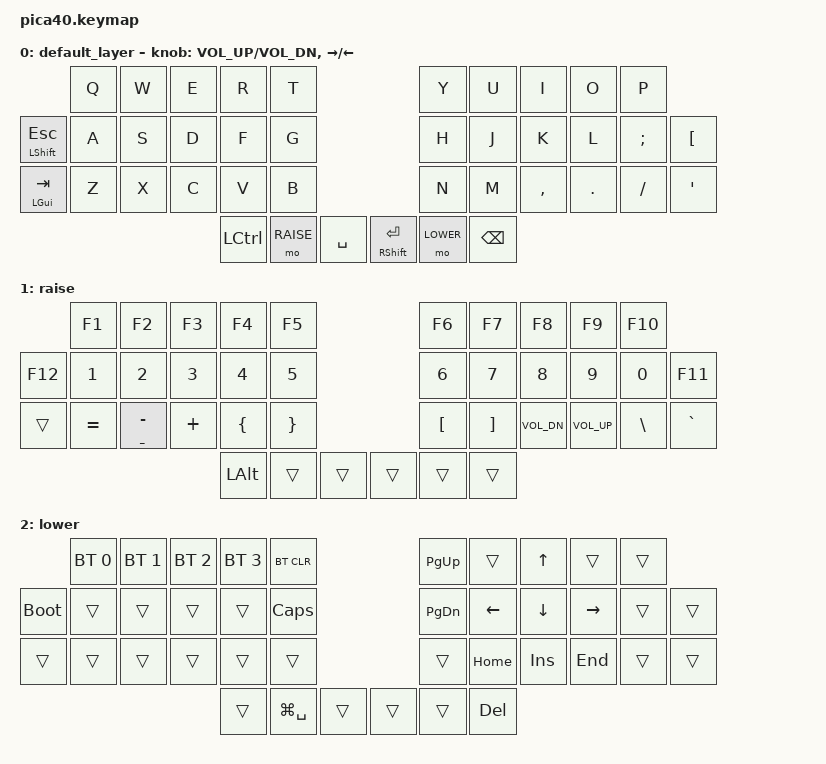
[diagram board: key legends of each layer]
#include <behaviors.dtsi>
#include <dt-bindings/zmk/keys.h>
#include <dt-bindings/zmk/bt.h>
#include <dt-bindings/zmk/outputs.h>

#define NONE 0
#define RAISE 1
#define LOWER 2
// #define NUM 3
// #define SYM 4
// #define FUNC 5

// &mt {
//     tapping-term-ms = <160>;
//     flavor = "tap-preferred";
// };

// &lt {
//     tapping-term-ms = <160>;
//     flavor = "tap-preferred";
// };

// / {

//     behaviors {
//         hm: homerow_mods {
//             compatible = "zmk,behavior-hold-tap";
//             label = "HOMEROW_MODS";
//             #binding-cells = <2>;
//             tapping-term-ms = <160>;
//             quick-tap-ms = <0>;
//             flavor = "tap-preferred";
//             bindings = <&kp>, <&kp>;
//         };
//         hr: homerow_mods_ring_finger {
//             compatible = "zmk,behavior-hold-tap";
//             label = "HOMEROW_MODS_RING_FINGER";
//             #binding-cells = <2>;
//             tapping-term-ms = <190>;
//             quick-tap-ms = <0>;
//             flavor = "tap-preferred";
//             bindings = <&kp>, <&kp>;
//         };
//         hp: homerow_mods_pinky_finger {
//             compatible = "zmk,behavior-hold-tap";
//             label = "HOMEROW_MODS_PINKY_FINGER";
//             #binding-cells = <2>;
//             tapping-term-ms = <220>;
//             quick-tap-ms = <0>;
//             flavor = "tap-preferred";
//             bindings = <&kp>, <&kp>;
//         };
//         tm: thumb_mods {
//             compatible = "zmk,behavior-hold-tap";
//             label = "THUMB_MODS";
//             #binding-cells = <2>;
//             tapping-term-ms = <160>;
//             quick-tap-ms = <160>;
//             flavor = "tap-preferred";
//             bindings = <&kp>, <&kp>;
//         };
//         lh: layer_hold {
//             compatible = "zmk,behavior-hold-tap";
//             label = "LAYER_HOLD";
//             #binding-cells = <2>;
//             tapping-term-ms = <160>;
//             quick-tap-ms = <160>;
//             flavor = "tap-preferred";
//             bindings = <&mo>, <&kp>;
//         };

//         // Easy alt-tab with alt+backspace thumb using mod-morphs
//         bstab: backspace_tab {
//             compatible = "zmk,behavior-mod-morph";
//             label = "BSPC_TAB";
//             #binding-cells = <0>;
//             bindings = <&kp BSPC>, <&kp TAB>;
//             mods = <MOD_LALT>;
//         };
//         lt_bspc: layer_tap_backspace_tab {
//             compatible = "zmk,behavior-hold-tap";
//             label = "LT_BT";
//             #binding-cells = <2>;
//             tapping-term-ms = <150>;
//             flavor = "balanced";
//             bindings = <&mo>, <&bstab>;
//         };
//     };

//     combos {
//         compatible = "zmk,combos";

//         combo_caps {
//             timeout-ms = <50>;
//             key-positions = <14 17>;
//             layers = <0>;
//             bindings = <&caps_word>;
//         };
//     };

/ {
    keymap {
        compatible = "zmk,keymap";
        default_layer {
            bindings = <
                               &kp Q  &kp W    &kp E     &kp R      &kp T                               &kp Y      &kp U         &kp I     &kp O     &kp P
                &mt LSHIFT ESC &kp A  &kp S    &kp D     &kp F      &kp G                               &kp H      &kp J         &kp K     &kp L     &kp SEMI  &kp LBKT
                &mt LGUI TAB   &kp Z  &kp X    &kp C     &kp V      &kp B                               &kp N      &kp M         &kp COMMA &kp DOT   &kp FSLH  &kp SQT
                                                         &kp LCTRL  &mo RAISE &kp SPACE &mt RSHFT ENTER &mo LOWER  &kp BACKSPACE 
                >;  
            sensor-bindings = <&inc_dec_kp C_VOL_UP C_VOL_DN &inc_dec_kp RIGHT LEFT>;
        };

        raise {
            // |       |   F1   |   F2   |   F3   |   F4   |   F5   |-------|-------|   F6   |   F7   |   F8   |   F9   |   F10  |        |
            // | F12   |    1   |    2   |    3   |    4   |    5   |-------|-------|    6   |    7   |    8   |    9   |    0   |   F11  |
            // | GRAVE |    =   |   -/_  |   +    |   {    |   }    |-------|-------|   [    |   ]    |  VOL+  |  VOL-  |    \   |    `   |
            // |       |        |        |        |  LALT  |        |       |       |        |        |        |        |        |        |
            bindings = <
                           &kp F1    &kp F2           &kp F3   &kp F4     &kp F5                  &kp F6     &kp F7    &kp F8       &kp F9         &kp F10 
                &kp F12    &kp N1    &kp N2           &kp N3   &kp N4     &kp N5                  &kp N6     &kp N7    &kp N8       &kp N9         &kp N0        &kp F11
                &trans     &kp EQUAL &mt UNDER MINUS  &kp PLUS &kp LBRC   &kp RBRC                &kp LBKT   &kp RBKT  &kp C_VOL_DN &kp C_VOL_UP   &kp BACKSLASH &kp GRAVE 
                                                               &kp LALT   &trans    &trans &trans &trans     &trans    
            >;
        };

        lower {
            // | RESET |        |        |        |        |        |-------|-------|  CALC  |        |        |        |        |        |
            // |OUT_TOG|   BT0  |  BT1   |   BT2  |   BT3  |   BT4  |-------|-------| P DOWN |        |  UP    |        |        |        |
            // |       |        |        |        |        |CAPSLOCK|-------|-------|  P UP  |  LEFT  |  DOWN  |  RIGHT |        |        |
            // |       |        |        |        |        |        |-------|-------|        |  HOME  |        |  END   |        |        |
            // |       |        |        |        |        |  LGUI  |       |       |        | DELETE |        |        |        |        |
                //   &trans       &trans       &trans       &trans       &bt BT_CLR_ALL                &kp K_CALC      &trans     &trans    &trans     &trans    &trans
            
            bindings = <
                             &bt BT_SEL 0 &bt BT_SEL 1 &bt BT_SEL 2 &bt BT_SEL 3 &bt BT_CLR                    &kp PAGE_UP     &trans     &kp UP     &trans     &trans  
                &bootloader  &trans       &trans       &trans       &trans       &kp CAPSLOCK                  &kp PAGE_DOWN   &kp LEFT   &kp DOWN   &kp RIGHT  &trans    &trans
                &trans       &trans       &trans       &trans       &trans       &trans                        &trans          &kp HOME   &kp INSERT &kp END    &trans    &trans
                                                                    &trans       &kp LG(SPACE) &trans  &trans  &trans          &kp DELETE 
            >;
        };




        // game_layer {
        //     bindings = <
        //                          &kp Q   &kp W  &kp E  &kp R  &kp T        &kp Y  &kp U  &kp I      &kp O    &kp P
        //         &hm LALT EQUAL   &kp A   &kp S  &kp D  &kp F  &kp G        &kp H  &kp J  &kp K      &kp L    &kp SEMI  &hm LGUI SQT
        //         &hm LSHFT MINUS  &kp Z   &kp X  &kp C  &kp V  &kp B        &kp N  &kp M  &kp COMMA  &kp DOT  &kp FSLH  &tog GAME
        //                     &hm LCTRL ESC  &lt NUM TAB  &lh SYM SPACE    &lt FUNC ENTER  &lh NAV BSPC  &tm RALT DEL
        //         >;
        // };

        // nav_layer {
        //     bindings = <
        //                &none     &none     &none      &none      &none        &none         &none     &kp PG_DN  &kp PG_UP  &none
        //         &none  &kp LGUI  &kp LALT  &kp LCTRL  &kp LSHFT  &kp G        &kp LA(UP)    &kp LEFT  &kp DOWN   &kp UP     &kp RIGHT  &kp INS
        //         &none  &none     &none     &none      &none      &none        &kp LA(DOWN)  &kp HOME  &kp END    &none      &none      &none
        //                                              &none  &none  &none    &none  &trans  &none
        //         >;
        // };

        // number_layer {
        //     bindings = <
        //                    &kp BSLH   &kp N7  &kp N8  &kp N9  &kp N0          &none  &none      &none      &none     &none
        //         &kp LCTRL  &kp COMMA  &kp N4  &kp N5  &kp N6  &kp LBKT        &none  &kp RSHFT  &kp RCTRL  &kp LALT  &kp RGUI  &none
        //         &kp DEL    &kp DOT    &kp N1  &kp N2  &kp N3  &kp RBKT        &none  &none      &none      &none     &none     &none
        //                                         &kp GRAVE  &trans  &none    &none  &none  &none
        //         >;
        // };

        // symbol_layer {
        //     bindings = <
        //                    &kp PIPE  &kp AMPS  &kp STAR   &kp LPAR   &kp RPAR        &none  &none      &none      &none     &none
        //         &kp LCTRL  &kp LT    &kp DLLR  &kp PRCNT  &kp CARET  &kp LBRC        &none  &kp RSHFT  &kp RCTRL  &kp LALT  &kp RGUI  &none
        //         &kp BSPC   &kp GT    &kp EXCL  &kp AT     &kp HASH   &kp RBRC        &none  &none      &none      &none     &none     &none
        //                                            &kp TILDE  &tog GAME  &trans    &none  &none  &none
        //         >;
        // };

        // function_layer {
        //     bindings = <
        //                    &kp F12  &kp F7  &kp F8  &kp F9  &kp PSCRN              &out OUT_TOG &bt BT_SEL 0 &bt BT_SEL 1 &bt BT_SEL 2  &bt BT_CLR
        //         &kp LCTRL  &kp F11  &kp F4  &kp F5  &kp F6  &kp PAUSE_BREAK        &none        &kp RSHFT    &kp RCTRL    &kp LALT      &kp RGUI  &none
        //         &kp ENTER  &kp F10  &kp F1  &kp F2  &kp F3  &kp CAPS               &none        &none        &none        &none         &none     &none
        //                                          &trans  &kp C_NEXT  &kp C_PP      &trans  &none  &none
        //         >;
        // };

    };
};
